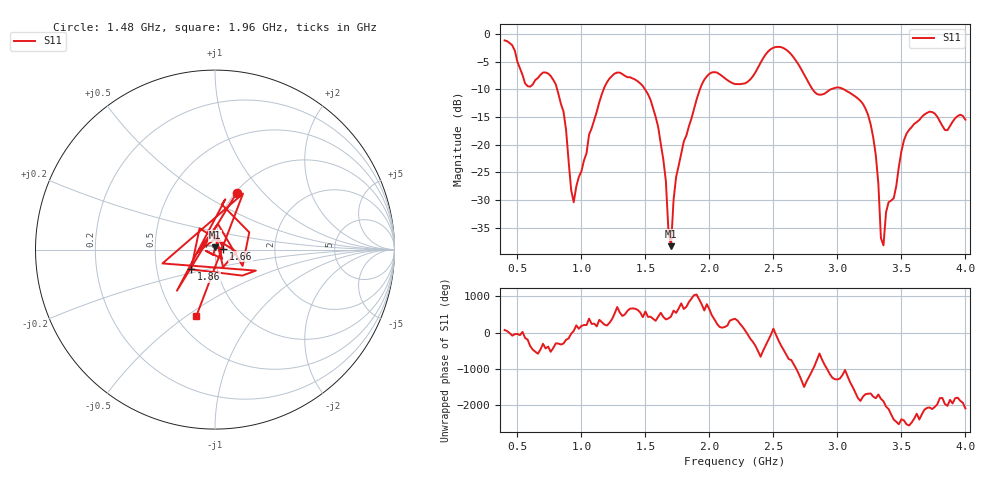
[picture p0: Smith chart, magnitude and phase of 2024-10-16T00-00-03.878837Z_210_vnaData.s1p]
! Created with skrf (http://scikit-rf.org).
# Hz S RI R 50.0
!freq ReS11 ImS11
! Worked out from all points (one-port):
!   181 points, 400 MHz to 4 GHz, reference 50 ohm
!   lowest |S11| = -38.3 dB at 1.7 GHz (marker M1), VSWR 1.02, Z = 50.1 + j1.21 ohm
!   |S11| at or under -10 dB: 810.5 MHz to 1.174 GHz (363.2 MHz wide, 36.6 % of centre); 1.497 GHz to 1.926 GHz (429.4 MHz wide, 25.1 % of centre); 3.05 GHz to end of sweep (the widest 3 of 4)
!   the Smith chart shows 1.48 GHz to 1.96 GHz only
!   S11 on the Smith chart (normalised r, x): 1.48 GHz: 1.01, +0.72; 1.66 GHz: 1.10, +0.01; 1.86 GHz: 0.75, -0.17; 1.96 GHz: 0.63, -0.55
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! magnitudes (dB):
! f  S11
! 400 MHz  -1.2
! 580 MHz  -9.4
! 760 MHz  -7.6
! 860 MHz  -14.0
! 940 MHz  -30.4
! 1.16 GHz  -10.9
! 1.3 GHz  -7.0
! 1.48 GHz  -9.4
! 1.6 GHz  -16.8
! 1.66 GHz  -26.6
! 1.68 GHz  -35.6
! 1.7 GHz  -38.3
! 1.72 GHz  -30.0
! 1.76 GHz  -23.8
! 1.86 GHz  -15.2
! 1.96 GHz  -8.3
! 2.2 GHz  -9.1
! 2.5 GHz  -2.5
! 2.66 GHz  -4.3
! 2.84 GHz  -10.8
! 3.1 GHz  -10.7
! 3.26 GHz  -16.3
! 3.3 GHz  -21.9
! 3.34 GHz  -36.9
! 3.36 GHz  -38.2
! 3.38 GHz  -32.2
! 3.56 GHz  -17.3
! 4 GHz  -15.5
